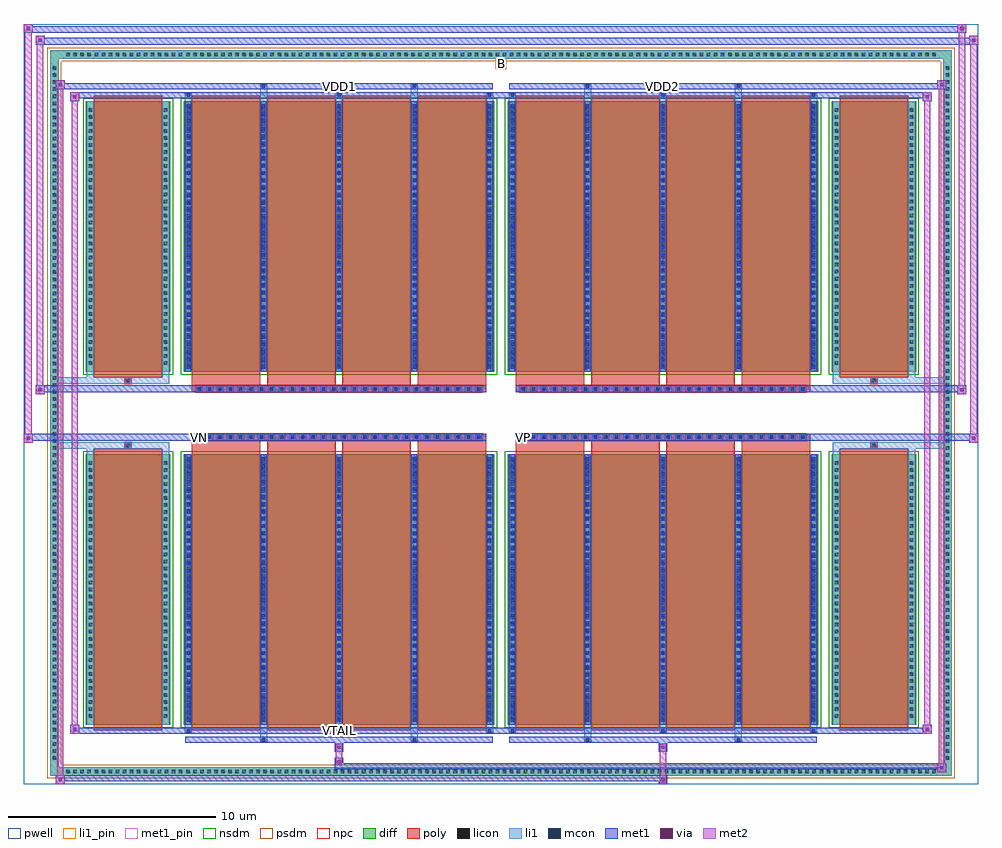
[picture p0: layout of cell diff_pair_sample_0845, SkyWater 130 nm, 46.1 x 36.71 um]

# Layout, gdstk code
import gdstk
lib = gdstk.Library(unit=1e-6, precision=5e-09)
def R(c, l, rs):  # rectangles x0, y0, x1, y1
    for r in rs: c.add(gdstk.rectangle(r[:2], r[2:], *l))
def A(c, l, x, y, w, h, nx, ny, dx, dy):  # array of equal rectangles
    R(c, l, [(x+i*dx, y+j*dy, x+i*dx+w, y+j*dy+h) for i in range(nx) for j in range(ny)])
def P(c, l, *ps):  # polygons
    for p in ps: c.add(gdstk.Polygon(p, *l))
pwell = (64, 44)
diff = (65, 20)
poly = (66, 20)
licon = (66, 44)
li1_pin = (67, 16)
li1 = (67, 20)
mcon = (67, 44)
met1_pin = (68, 16)
met1 = (68, 20)
via = (68, 44)
met2 = (69, 20)
nsdm = (93, 44)
psdm = (94, 20)
npc = (95, 20)

diff_pair_sample_0845 = lib.new_cell('diff_pair_sample_0845')
R(diff_pair_sample_0845, pwell, [(-23.05,-17.92,23.05,18.79), (-20.37,-16.11,-0.01,-0.805), (0.01,-16.11,20.37,-0.805), (-20.37,0.805,-0.01,16.11), (0.01,0.805,20.37,16.11)])
A(diff_pair_sample_0845, diff, -21.115, -17.52, 0.41, 0.41, 124, 2, 0.34, 34.63)
A(diff_pair_sample_0845, diff, -21.78, -16.865, 0.41, 0.41, 1, 99, 0, 0.34)
A(diff_pair_sample_0845, diff, 21.37, -16.865, 0.41, 0.41, 1, 99, 0, 0.34)
R(diff_pair_sample_0845, diff, [(-21.115,-17.52,21.115,-17.11), (-21.78,-16.865,-21.37,16.865), (21.37,-16.865,21.78,16.865), (-20.06,-15.065,-15.97,-1.985), (-15.33,-15.065,-0.32,-1.985), (0.32,-15.065,15.33,-1.985), (15.97,-15.065,20.06,-1.985), (-20.06,1.985,-15.97,15.065), (-15.33,1.985,-0.32,15.065), (0.32,1.985,15.33,15.065), (15.97,1.985,20.06,15.065), (-21.115,17.11,21.115,17.52)])
P(diff_pair_sample_0845, diff, [(21.78,17.52),(-21.78,17.52),(-21.78,-17.11),(-21.37,-17.11),(-21.37,17.11),(21.37,17.11),(21.37,-17.11),(-21.37,-17.11),(-21.78,-17.11),(-21.78,-17.52),(21.78,-17.52)])
A(diff_pair_sample_0845, poly, -14.94, -15.315, 3.31, 13.58, 4, 2, 3.64, 17.05)
A(diff_pair_sample_0845, poly, 0.71, -15.315, 3.31, 13.58, 4, 2, 3.64, 17.05)
A(diff_pair_sample_0845, poly, -14.94, -1.735, 3.31, 0.4, 4, 2, 3.64, 3.07)
A(diff_pair_sample_0845, poly, 0.71, -1.735, 3.31, 0.4, 4, 2, 3.64, 3.07)
A(diff_pair_sample_0845, poly, -14.74, -1.335, 0.33, 0.33, 28, 2, 0.5, 2.34)
A(diff_pair_sample_0845, poly, 0.91, -1.335, 0.33, 0.33, 28, 2, 0.5, 2.34)
R(diff_pair_sample_0845, poly, [(-19.67,-15.315,-16.36,-1.735), (16.36,-15.315,19.67,-1.735), (-18.18,-1.735,-17.85,-1.405), (-18.18,-1.735,-17.85,-1.405), (17.85,-1.735,18.18,-1.405), (17.85,-1.735,18.18,-1.405), (-14.94,-1.335,-0.71,-1.005), (0.71,-1.335,14.94,-1.005), (-14.94,1.005,-0.71,1.335), (0.71,1.005,14.94,1.335), (-18.18,1.405,-17.85,1.735), (-18.18,1.405,-17.85,1.735), (17.85,1.405,18.18,1.735), (17.85,1.405,18.18,1.735), (-19.67,1.735,-16.36,15.315), (16.36,1.735,19.67,15.315)])
A(diff_pair_sample_0845, licon, -20.995, -17.4, 0.17, 0.17, 124, 2, 0.34, 34.63)
A(diff_pair_sample_0845, licon, -21.66, -16.745, 0.17, 0.17, 1, 99, 0, 0.34)
A(diff_pair_sample_0845, licon, 21.49, -16.745, 0.17, 0.17, 1, 99, 0, 0.34)
A(diff_pair_sample_0845, licon, -19.92, -14.73, 0.17, 0.17, 1, 37, 0, 0.34)
A(diff_pair_sample_0845, licon, -16.28, -14.73, 0.17, 0.17, 1, 37, 0, 0.34)
A(diff_pair_sample_0845, licon, -15.19, -14.73, 0.17, 0.17, 5, 37, 3.64, 0.34)
A(diff_pair_sample_0845, licon, 0.46, -14.73, 0.17, 0.17, 5, 37, 3.64, 0.34)
A(diff_pair_sample_0845, licon, 16.11, -14.73, 0.17, 0.17, 1, 37, 0, 0.34)
A(diff_pair_sample_0845, licon, 19.75, -14.73, 0.17, 0.17, 1, 37, 0, 0.34)
A(diff_pair_sample_0845, licon, -14.66, -1.255, 0.17, 0.17, 28, 2, 0.5, 2.34)
A(diff_pair_sample_0845, licon, 0.99, -1.255, 0.17, 0.17, 28, 2, 0.5, 2.34)
A(diff_pair_sample_0845, licon, -19.92, 2.32, 0.17, 0.17, 1, 37, 0, 0.34)
A(diff_pair_sample_0845, licon, -16.28, 2.32, 0.17, 0.17, 1, 37, 0, 0.34)
A(diff_pair_sample_0845, licon, -15.19, 2.32, 0.17, 0.17, 5, 37, 3.64, 0.34)
A(diff_pair_sample_0845, licon, 0.46, 2.32, 0.17, 0.17, 5, 37, 3.64, 0.34)
A(diff_pair_sample_0845, licon, 16.11, 2.32, 0.17, 0.17, 1, 37, 0, 0.34)
A(diff_pair_sample_0845, licon, 19.75, 2.32, 0.17, 0.17, 1, 37, 0, 0.34)
R(diff_pair_sample_0845, licon, [(-18.1,-1.655,-17.93,-1.485), (17.93,-1.655,18.1,-1.485), (-18.1,1.485,-17.93,1.655), (17.93,1.485,18.1,1.655)])
R(diff_pair_sample_0845, li1_pin, [(-0.25,16.61,0.25,17.11)])
A(diff_pair_sample_0845, li1, -21.075, -17.48, 0.33, 0.33, 124, 2, 0.34, 34.63)
A(diff_pair_sample_0845, li1, -21.74, -16.825, 0.33, 0.33, 1, 99, 0, 0.34)
A(diff_pair_sample_0845, li1, 21.41, -16.825, 0.33, 0.33, 1, 99, 0, 0.34)
A(diff_pair_sample_0845, li1, -15.27, -15.44, 0.33, 0.375, 3, 2, 7.28, 30.505)
A(diff_pair_sample_0845, li1, -15.19, -15.44, 0.17, 0.17, 3, 2, 7.28, 30.71)
A(diff_pair_sample_0845, li1, 0.38, -15.44, 0.33, 0.375, 3, 2, 7.28, 30.505)
A(diff_pair_sample_0845, li1, 0.46, -15.44, 0.17, 0.17, 3, 2, 7.28, 30.71)
A(diff_pair_sample_0845, li1, -15.27, -15.065, 0.33, 13.08, 5, 2, 3.64, 17.05)
A(diff_pair_sample_0845, li1, 0.38, -15.065, 0.33, 13.08, 5, 2, 3.64, 17.05)
A(diff_pair_sample_0845, li1, -15.19, -14.91, 0.17, 0.17, 5, 36, 3.64, 0.36)
A(diff_pair_sample_0845, li1, -15.19, -14.91, 0.17, 12.77, 5, 2, 3.64, 17.05)
A(diff_pair_sample_0845, li1, 0.46, -14.91, 0.17, 0.17, 5, 36, 3.64, 0.36)
A(diff_pair_sample_0845, li1, 0.46, -14.91, 0.17, 12.77, 5, 2, 3.64, 17.05)
A(diff_pair_sample_0845, li1, -20, -14.81, 0.33, 0.33, 1, 37, 0, 0.34)
A(diff_pair_sample_0845, li1, -16.36, -14.81, 0.33, 0.33, 1, 37, 0, 0.34)
A(diff_pair_sample_0845, li1, -15.27, -14.81, 0.33, 0.33, 5, 37, 3.64, 0.34)
A(diff_pair_sample_0845, li1, 0.38, -14.81, 0.33, 0.33, 5, 37, 3.64, 0.34)
A(diff_pair_sample_0845, li1, 16.03, -14.81, 0.33, 0.33, 1, 37, 0, 0.34)
A(diff_pair_sample_0845, li1, 19.67, -14.81, 0.33, 0.33, 1, 37, 0, 0.34)
A(diff_pair_sample_0845, li1, -14.74, -1.335, 0.33, 0.33, 28, 2, 0.5, 2.34)
A(diff_pair_sample_0845, li1, 0.91, -1.335, 0.33, 0.33, 28, 2, 0.5, 2.34)
A(diff_pair_sample_0845, li1, -15.19, 2.14, 0.17, 0.17, 5, 36, 3.64, 0.36)
A(diff_pair_sample_0845, li1, 0.46, 2.14, 0.17, 0.17, 5, 36, 3.64, 0.36)
A(diff_pair_sample_0845, li1, -20, 2.24, 0.33, 0.33, 1, 37, 0, 0.34)
A(diff_pair_sample_0845, li1, -16.36, 2.24, 0.33, 0.33, 1, 37, 0, 0.34)
A(diff_pair_sample_0845, li1, -15.27, 2.24, 0.33, 0.33, 5, 37, 3.64, 0.34)
A(diff_pair_sample_0845, li1, 0.38, 2.24, 0.33, 0.33, 5, 37, 3.64, 0.34)
A(diff_pair_sample_0845, li1, 16.03, 2.24, 0.33, 0.33, 1, 37, 0, 0.34)
A(diff_pair_sample_0845, li1, 19.67, 2.24, 0.33, 0.33, 1, 37, 0, 0.34)
R(diff_pair_sample_0845, li1, [(-21.78,-17.52,-21.37,-17.11), (-21.78,-17.52,-21.37,-17.11), (-21.37,-17.52,21.37,-17.11), (21.37,-17.52,21.78,-17.11), (21.37,-17.52,21.78,-17.11), (-21.78,-17.11,-21.37,17.11), (21.37,-17.11,21.78,17.11), (-11.63,-15.87,-11.3,-15.065), (-11.55,-15.87,-11.38,-15.7), (-4.35,-15.87,-4.02,-15.065), (-4.27,-15.87,-4.1,-15.7), (4.02,-15.87,4.35,-15.065), (4.1,-15.87,4.27,-15.7), (11.3,-15.87,11.63,-15.065), (11.38,-15.87,11.55,-15.7), (-20,-15.065,-19.67,-1.985), (-16.36,-15.065,-16.03,-1.985), (16.03,-15.065,16.36,-1.985), (19.67,-15.065,20,-1.985), (-20,-1.985,-19.67,-1.405), (-16.36,-1.985,-16.03,-1.405), (16.03,-1.985,16.36,-1.405), (19.67,-1.985,20,-1.405), (-21.78,-1.735,-18.18,-1.405), (-20,-1.735,-18.18,-1.405), (-18.18,-1.735,-17.85,-1.405), (-17.85,-1.735,-16.03,-1.405), (16.03,-1.735,17.85,-1.405), (17.85,-1.735,18.18,-1.405), (17.85,-1.735,21.78,-1.405), (18.18,-1.735,20,-1.405), (-21.78,1.405,-18.18,1.735), (-20,1.405,-18.18,1.735), (-20,1.405,-19.67,1.985), (-18.18,1.405,-17.85,1.735), (-17.85,1.405,-16.03,1.735), (-16.36,1.405,-16.03,1.985), (16.03,1.405,17.85,1.735), (16.03,1.405,16.36,1.985), (17.85,1.405,18.18,1.735), (17.85,1.405,21.78,1.735), (18.18,1.405,20,1.735), (19.67,1.405,20,1.985), (-20,1.985,-19.67,15.065), (-16.36,1.985,-16.03,15.065), (16.03,1.985,16.36,15.065), (19.67,1.985,20,15.065), (-11.63,15.065,-11.3,15.87), (-4.35,15.065,-4.02,15.87), (4.02,15.065,4.35,15.87), (11.3,15.065,11.63,15.87), (-11.55,15.7,-11.38,15.87), (-4.27,15.7,-4.1,15.87), (4.1,15.7,4.27,15.87), (11.38,15.7,11.55,15.87), (-21.78,17.11,-21.37,17.52), (-21.78,17.11,-21.37,17.52), (-21.37,17.11,21.37,17.52), (21.37,17.11,21.78,17.52), (21.37,17.11,21.78,17.52)])
A(diff_pair_sample_0845, mcon, -15.19, -15.44, 0.17, 0.17, 3, 2, 7.28, 30.71)
A(diff_pair_sample_0845, mcon, 0.46, -15.44, 0.17, 0.17, 3, 2, 7.28, 30.71)
A(diff_pair_sample_0845, mcon, -15.19, -14.91, 0.17, 0.17, 5, 36, 3.64, 0.36)
A(diff_pair_sample_0845, mcon, 0.46, -14.91, 0.17, 0.17, 5, 36, 3.64, 0.36)
A(diff_pair_sample_0845, mcon, -14.66, -1.255, 0.17, 0.17, 28, 2, 0.5, 2.34)
A(diff_pair_sample_0845, mcon, 0.99, -1.255, 0.17, 0.17, 28, 2, 0.5, 2.34)
A(diff_pair_sample_0845, mcon, -15.19, 2.14, 0.17, 0.17, 5, 36, 3.64, 0.36)
A(diff_pair_sample_0845, mcon, 0.46, 2.14, 0.17, 0.17, 5, 36, 3.64, 0.36)
R(diff_pair_sample_0845, mcon, [(-11.55,-15.87,-11.38,-15.7), (-4.27,-15.87,-4.1,-15.7), (4.1,-15.87,4.27,-15.7), (11.38,-15.87,11.55,-15.7), (-11.55,15.7,-11.38,15.87), (-4.27,15.7,-4.1,15.87), (4.1,15.7,4.27,15.87), (11.38,15.7,11.55,15.87)])
R(diff_pair_sample_0845, met1_pin, [(-7.96,-15.48,-7.69,-15.21), (-14.71,-1.295,-14.44,-1.025), (0.94,-1.295,1.21,-1.025), (-7.96,15.66,-7.69,15.93), (7.69,15.66,7.96,15.93)])
A(diff_pair_sample_0845, met1, -15.25, -15.5, 0.29, 0.29, 3, 2, 7.28, 30.71)
A(diff_pair_sample_0845, met1, 0.4, -15.5, 0.29, 0.29, 3, 2, 7.28, 30.71)
A(diff_pair_sample_0845, met1, -15.25, -15.065, 0.29, 13.08, 5, 2, 3.64, 17.05)
A(diff_pair_sample_0845, met1, 0.4, -15.065, 0.29, 13.08, 5, 2, 3.64, 17.05)
A(diff_pair_sample_0845, met1, -15.25, -14.97, 0.29, 0.29, 5, 36, 3.64, 0.36)
A(diff_pair_sample_0845, met1, 0.4, -14.97, 0.29, 0.29, 5, 36, 3.64, 0.36)
A(diff_pair_sample_0845, met1, -14.72, -1.315, 0.29, 0.29, 28, 2, 0.5, 2.34)
A(diff_pair_sample_0845, met1, 0.93, -1.315, 0.29, 0.29, 28, 2, 0.5, 2.34)
A(diff_pair_sample_0845, met1, -15.25, 2.08, 0.29, 0.29, 5, 36, 3.64, 0.36)
A(diff_pair_sample_0845, met1, 0.4, 2.08, 0.29, 0.29, 5, 36, 3.64, 0.36)
R(diff_pair_sample_0845, met1, [(-21.51,-17.92,-21.08,-17.49), (7.61,-17.92,8.04,-17.49), (-21.51,-17.78,8.04,-17.49), (21.08,-17.35,21.51,-16.92), (-8.04,-17.21,21.51,-16.92), (-8.04,-17.07,-7.61,-16.64), (-8.04,-16.36,-7.61,-15.93), (7.61,-16.36,8.04,-15.93), (-15.25,-15.93,-0.4,-15.64), (-11.61,-15.93,-11.32,-15.64), (-4.33,-15.93,-4.04,-15.64), (0.4,-15.93,15.25,-15.64), (4.04,-15.93,4.33,-15.64), (11.32,-15.93,11.61,-15.64), (-20.8,-15.5,-20.37,-15.07), (-20.8,-15.5,-15.25,-15.21), (-15.25,-15.5,-0.4,-15.21), (-0.4,-15.5,0.4,-15.21), (0.4,-15.5,15.25,-15.21), (15.25,-15.5,20.8,-15.21), (20.37,-15.5,20.8,-15.07), (-23.05,-1.435,-22.62,-1.005), (22.62,-1.435,23.05,-1.005), (-23.05,-1.335,-0.71,-1.005), (-14.94,-1.335,-0.71,-1.005), (0.71,-1.335,14.94,-1.005), (0.71,-1.335,23.05,-1.005), (-22.48,0.905,-22.05,1.335), (22.05,0.905,22.48,1.335), (-22.48,1.005,-14.94,1.335), (-14.94,1.005,-0.71,1.335), (0.71,1.005,14.94,1.335), (14.94,1.005,22.48,1.335), (-20.8,15.07,-20.37,15.5), (20.37,15.07,20.8,15.5), (-20.8,15.21,-15.25,15.5), (-15.25,15.21,-0.4,15.5), (-0.4,15.21,0.4,15.5), (0.4,15.21,15.25,15.5), (15.25,15.21,20.8,15.5), (-21.51,15.64,-21.08,16.07), (-21.51,15.64,-15.25,15.93), (-15.25,15.64,-0.4,15.93), (-11.61,15.64,-11.32,15.93), (-4.33,15.64,-4.04,15.93), (0.4,15.64,15.25,15.93), (4.04,15.64,4.33,15.93), (11.32,15.64,11.61,15.93), (15.25,15.64,21.51,15.93), (21.08,15.64,21.51,16.07), (-22.48,17.79,-22.05,18.22), (-22.48,17.79,-20.37,18.12), (-20.37,17.79,20.37,18.12), (20.37,17.79,23.05,18.12), (22.62,17.79,23.05,18.22), (-23.05,18.36,-22.62,18.79), (-23.05,18.36,-20.37,18.69), (-20.37,18.36,20.37,18.69), (20.37,18.36,22.48,18.69), (22.05,18.36,22.48,18.79)])
R(diff_pair_sample_0845, via, [(-21.37,-17.78,-21.22,-17.63), (7.75,-17.78,7.9,-17.63), (21.22,-17.21,21.37,-17.06), (-7.9,-16.93,-7.75,-16.78), (-7.9,-16.22,-7.75,-16.07), (7.75,-16.22,7.9,-16.07), (-20.66,-15.36,-20.51,-15.21), (20.51,-15.36,20.66,-15.21), (-22.91,-1.295,-22.76,-1.145), (22.76,-1.295,22.91,-1.145), (-22.34,1.045,-22.19,1.195), (22.19,1.045,22.34,1.195), (-20.66,15.21,-20.51,15.36), (20.51,15.21,20.66,15.36), (-21.37,15.78,-21.22,15.93), (21.22,15.78,21.37,15.93), (-22.34,17.93,-22.19,18.08), (22.76,17.93,22.91,18.08), (-22.91,18.5,-22.76,18.65), (22.19,18.5,22.34,18.65)])
R(diff_pair_sample_0845, met2, [(-21.51,-17.92,-21.08,-17.49), (-21.44,-17.92,-21.15,16.07), (-21.15,-17.92,-21.08,-17.49), (-21.46,-17.87,-21.13,-17.54), (7.66,-17.87,7.99,-17.54), (7.66,-17.54,7.99,-16.31), (21.08,-17.35,21.51,-16.92), (21.15,-17.35,21.44,16.07), (21.44,-17.35,21.51,-16.92), (21.13,-17.3,21.46,-16.97), (-7.99,-17.02,-7.66,-16.69), (-7.99,-16.69,-7.66,-16.31), (-7.99,-16.31,-7.66,-15.98), (7.66,-16.31,7.99,-15.98), (-20.8,-15.5,-20.37,-15.07), (-20.73,-15.5,-20.44,15.5), (-20.44,-15.5,-20.37,-15.07), (20.37,-15.5,20.8,-15.07), (20.44,-15.5,20.73,15.5), (20.73,-15.5,20.8,-15.07), (-20.75,-15.45,-20.42,-15.12), (20.42,-15.45,20.75,-15.12), (-23.05,-1.435,-22.62,-1.005), (-23,-1.435,-22.67,18.79), (-22.67,-1.435,-22.62,-1.005), (22.62,-1.435,23.05,-1.005), (22.67,-1.435,23,18.22), (23,-1.435,23.05,-1.005), (-23,-1.385,-22.67,-1.055), (22.67,-1.385,23,-1.055), (-22.48,0.905,-22.05,1.335), (-22.43,0.905,-22.1,18.22), (-22.1,0.905,-22.05,1.335), (22.05,0.905,22.48,1.335), (22.1,0.905,22.43,18.79), (22.43,0.905,22.48,1.335), (-22.43,0.955,-22.1,1.285), (22.1,0.955,22.43,1.285), (-20.8,15.07,-20.37,15.5), (-20.44,15.07,-20.37,15.5), (20.37,15.07,20.8,15.5), (20.73,15.07,20.8,15.5), (-20.75,15.12,-20.42,15.45), (20.42,15.12,20.75,15.45), (-21.51,15.64,-21.08,16.07), (-21.15,15.64,-21.08,16.07), (21.08,15.64,21.51,16.07), (21.44,15.64,21.51,16.07), (-21.46,15.69,-21.13,16.02), (21.13,15.69,21.46,16.02), (-22.48,17.79,-22.05,18.22), (-22.1,17.79,-22.05,18.22), (22.62,17.79,23.05,18.22), (23,17.79,23.05,18.22), (-22.43,17.84,-22.1,18.17), (22.67,17.84,23,18.17), (-23.05,18.36,-22.62,18.79), (-22.67,18.36,-22.62,18.79), (22.05,18.36,22.48,18.79), (22.43,18.36,22.48,18.79), (-23,18.41,-22.67,18.74), (22.1,18.41,22.43,18.74)])
R(diff_pair_sample_0845, nsdm, [(-20.19,-15.195,-15.84,-1.855), (-15.46,-15.195,-0.19,-1.855), (0.19,-15.195,15.46,-1.855), (15.84,-15.195,20.19,-1.855), (-20.19,1.855,-15.84,15.195), (-15.46,1.855,-0.19,15.195), (0.19,1.855,15.46,15.195), (15.84,1.855,20.19,15.195)])
P(diff_pair_sample_0845, psdm, [(21.91,17.65),(-21.91,17.65),(-21.91,-16.98),(-21.24,-16.98),(-21.24,16.98),(21.24,16.98),(21.24,-16.98),(-21.24,-16.98),(-21.91,-16.98),(-21.91,-17.65),(21.91,-17.65)])
A(diff_pair_sample_0845, npc, -14.76, -1.355, 0.37, 0.37, 28, 2, 0.5, 2.34)
A(diff_pair_sample_0845, npc, 0.89, -1.355, 0.37, 0.37, 28, 2, 0.5, 2.34)
R(diff_pair_sample_0845, npc, [(-18.2,-1.755,-17.83,-1.385), (17.83,-1.755,18.2,-1.385), (-14.76,-1.355,-13.89,-0.985), (-14.76,-1.355,-13.89,-0.985), (-14.26,-1.355,-13.39,-0.985), (-14.26,-1.355,-13.39,-0.985), (-13.76,-1.355,-12.89,-0.985), (-13.76,-1.355,-12.89,-0.985), (-13.26,-1.355,-12.39,-0.985), (-13.26,-1.355,-12.39,-0.985), (-12.76,-1.355,-11.89,-0.985), (-12.76,-1.355,-11.89,-0.985), (-12.26,-1.355,-11.39,-0.985), (-12.26,-1.355,-11.39,-0.985), (-11.76,-1.355,-10.89,-0.985), (-11.76,-1.355,-10.89,-0.985), (-11.26,-1.355,-10.39,-0.985), (-11.26,-1.355,-10.39,-0.985), (-10.76,-1.355,-9.89,-0.985), (-10.76,-1.355,-9.89,-0.985), (-10.26,-1.355,-9.39,-0.985), (-10.26,-1.355,-9.39,-0.985), (-9.76,-1.355,-8.89,-0.985), (-9.76,-1.355,-8.89,-0.985), (-9.26,-1.355,-8.39,-0.985), (-9.26,-1.355,-8.39,-0.985), (-8.76,-1.355,-7.89,-0.985), (-8.76,-1.355,-7.89,-0.985), (-8.26,-1.355,-7.39,-0.985), (-8.26,-1.355,-7.39,-0.985), (-7.76,-1.355,-6.89,-0.985), (-7.76,-1.355,-6.89,-0.985), (-7.26,-1.355,-6.39,-0.985), (-7.26,-1.355,-6.39,-0.985), (-6.76,-1.355,-5.89,-0.985), (-6.76,-1.355,-5.89,-0.985), (-6.26,-1.355,-5.39,-0.985), (-6.26,-1.355,-5.39,-0.985), (-5.76,-1.355,-4.89,-0.985), (-5.76,-1.355,-4.89,-0.985), (-5.26,-1.355,-4.39,-0.985), (-5.26,-1.355,-4.39,-0.985), (-4.76,-1.355,-3.89,-0.985), (-4.76,-1.355,-3.89,-0.985), (-4.26,-1.355,-3.39,-0.985), (-4.26,-1.355,-3.39,-0.985), (-3.76,-1.355,-2.89,-0.985), (-3.76,-1.355,-2.89,-0.985), (-3.26,-1.355,-2.39,-0.985), (-3.26,-1.355,-2.39,-0.985), (-2.76,-1.355,-1.89,-0.985), (-2.76,-1.355,-1.89,-0.985), (-2.26,-1.355,-1.39,-0.985), (-2.26,-1.355,-1.39,-0.985), (-1.76,-1.355,-0.89,-0.985), (-1.76,-1.355,-0.89,-0.985), (0.89,-1.355,1.76,-0.985), (0.89,-1.355,1.76,-0.985), (1.39,-1.355,2.26,-0.985), (1.39,-1.355,2.26,-0.985), (1.89,-1.355,2.76,-0.985), (1.89,-1.355,2.76,-0.985), (2.39,-1.355,3.26,-0.985), (2.39,-1.355,3.26,-0.985), (2.89,-1.355,3.76,-0.985), (2.89,-1.355,3.76,-0.985), (3.39,-1.355,4.26,-0.985), (3.39,-1.355,4.26,-0.985), (3.89,-1.355,4.76,-0.985), (3.89,-1.355,4.76,-0.985), (4.39,-1.355,5.26,-0.985), (4.39,-1.355,5.26,-0.985), (4.89,-1.355,5.76,-0.985), (4.89,-1.355,5.76,-0.985), (5.39,-1.355,6.26,-0.985), (5.39,-1.355,6.26,-0.985), (5.89,-1.355,6.76,-0.985), (5.89,-1.355,6.76,-0.985), (6.39,-1.355,7.26,-0.985), (6.39,-1.355,7.26,-0.985), (6.89,-1.355,7.76,-0.985), (6.89,-1.355,7.76,-0.985), (7.39,-1.355,8.26,-0.985), (7.39,-1.355,8.26,-0.985), (7.89,-1.355,8.76,-0.985), (7.89,-1.355,8.76,-0.985), (8.39,-1.355,9.26,-0.985), (8.39,-1.355,9.26,-0.985), (8.89,-1.355,9.76,-0.985), (8.89,-1.355,9.76,-0.985), (9.39,-1.355,10.26,-0.985), (9.39,-1.355,10.26,-0.985), (9.89,-1.355,10.76,-0.985), (9.89,-1.355,10.76,-0.985), (10.39,-1.355,11.26,-0.985), (10.39,-1.355,11.26,-0.985), (10.89,-1.355,11.76,-0.985), (10.89,-1.355,11.76,-0.985), (11.39,-1.355,12.26,-0.985), (11.39,-1.355,12.26,-0.985), (11.89,-1.355,12.76,-0.985), (11.89,-1.355,12.76,-0.985), (12.39,-1.355,13.26,-0.985), (12.39,-1.355,13.26,-0.985), (12.89,-1.355,13.76,-0.985), (12.89,-1.355,13.76,-0.985), (13.39,-1.355,14.26,-0.985), (13.39,-1.355,14.26,-0.985), (13.89,-1.355,14.76,-0.985), (13.89,-1.355,14.76,-0.985), (-14.76,0.985,-13.89,1.355), (-14.76,0.985,-13.89,1.355), (-14.26,0.985,-13.39,1.355), (-14.26,0.985,-13.39,1.355), (-13.76,0.985,-12.89,1.355), (-13.76,0.985,-12.89,1.355), (-13.26,0.985,-12.39,1.355), (-13.26,0.985,-12.39,1.355), (-12.76,0.985,-11.89,1.355), (-12.76,0.985,-11.89,1.355), (-12.26,0.985,-11.39,1.355), (-12.26,0.985,-11.39,1.355), (-11.76,0.985,-10.89,1.355), (-11.76,0.985,-10.89,1.355), (-11.26,0.985,-10.39,1.355), (-11.26,0.985,-10.39,1.355), (-10.76,0.985,-9.89,1.355), (-10.76,0.985,-9.89,1.355), (-10.26,0.985,-9.39,1.355), (-10.26,0.985,-9.39,1.355), (-9.76,0.985,-8.89,1.355), (-9.76,0.985,-8.89,1.355), (-9.26,0.985,-8.39,1.355), (-9.26,0.985,-8.39,1.355), (-8.76,0.985,-7.89,1.355), (-8.76,0.985,-7.89,1.355), (-8.26,0.985,-7.39,1.355), (-8.26,0.985,-7.39,1.355), (-7.76,0.985,-6.89,1.355), (-7.76,0.985,-6.89,1.355), (-7.26,0.985,-6.39,1.355), (-7.26,0.985,-6.39,1.355), (-6.76,0.985,-5.89,1.355), (-6.76,0.985,-5.89,1.355), (-6.26,0.985,-5.39,1.355), (-6.26,0.985,-5.39,1.355), (-5.76,0.985,-4.89,1.355), (-5.76,0.985,-4.89,1.355), (-5.26,0.985,-4.39,1.355), (-5.26,0.985,-4.39,1.355), (-4.76,0.985,-3.89,1.355), (-4.76,0.985,-3.89,1.355), (-4.26,0.985,-3.39,1.355), (-4.26,0.985,-3.39,1.355), (-3.76,0.985,-2.89,1.355), (-3.76,0.985,-2.89,1.355), (-3.26,0.985,-2.39,1.355), (-3.26,0.985,-2.39,1.355), (-2.76,0.985,-1.89,1.355), (-2.76,0.985,-1.89,1.355), (-2.26,0.985,-1.39,1.355), (-2.26,0.985,-1.39,1.355), (-1.76,0.985,-0.89,1.355), (-1.76,0.985,-0.89,1.355), (0.89,0.985,1.76,1.355), (0.89,0.985,1.76,1.355), (1.39,0.985,2.26,1.355), (1.39,0.985,2.26,1.355), (1.89,0.985,2.76,1.355), (1.89,0.985,2.76,1.355), (2.39,0.985,3.26,1.355), (2.39,0.985,3.26,1.355), (2.89,0.985,3.76,1.355), (2.89,0.985,3.76,1.355), (3.39,0.985,4.26,1.355), (3.39,0.985,4.26,1.355), (3.89,0.985,4.76,1.355), (3.89,0.985,4.76,1.355), (4.39,0.985,5.26,1.355), (4.39,0.985,5.26,1.355), (4.89,0.985,5.76,1.355), (4.89,0.985,5.76,1.355), (5.39,0.985,6.26,1.355), (5.39,0.985,6.26,1.355), (5.89,0.985,6.76,1.355), (5.89,0.985,6.76,1.355), (6.39,0.985,7.26,1.355), (6.39,0.985,7.26,1.355), (6.89,0.985,7.76,1.355), (6.89,0.985,7.76,1.355), (7.39,0.985,8.26,1.355), (7.39,0.985,8.26,1.355), (7.89,0.985,8.76,1.355), (7.89,0.985,8.76,1.355), (8.39,0.985,9.26,1.355), (8.39,0.985,9.26,1.355), (8.89,0.985,9.76,1.355), (8.89,0.985,9.76,1.355), (9.39,0.985,10.26,1.355), (9.39,0.985,10.26,1.355), (9.89,0.985,10.76,1.355), (9.89,0.985,10.76,1.355), (10.39,0.985,11.26,1.355), (10.39,0.985,11.26,1.355), (10.89,0.985,11.76,1.355), (10.89,0.985,11.76,1.355), (11.39,0.985,12.26,1.355), (11.39,0.985,12.26,1.355), (11.89,0.985,12.76,1.355), (11.89,0.985,12.76,1.355), (12.39,0.985,13.26,1.355), (12.39,0.985,13.26,1.355), (12.89,0.985,13.76,1.355), (12.89,0.985,13.76,1.355), (13.39,0.985,14.26,1.355), (13.39,0.985,14.26,1.355), (13.89,0.985,14.76,1.355), (13.89,0.985,14.76,1.355), (-18.2,1.385,-17.83,1.755), (17.83,1.385,18.2,1.755)])
diff_pair_sample_0845.add(gdstk.Label('VTAIL', (-7.825,-15.345), layer=68, texttype=5))
diff_pair_sample_0845.add(gdstk.Label('VN', (-14.575,-1.16), layer=68, texttype=5))
diff_pair_sample_0845.add(gdstk.Label('VP', (1.075,-1.16), layer=68, texttype=5))
diff_pair_sample_0845.add(gdstk.Label('B', (0,16.86), layer=67, texttype=5))
diff_pair_sample_0845.add(gdstk.Label('VDD2', (7.825,15.795), layer=68, texttype=5))
diff_pair_sample_0845.add(gdstk.Label('VDD1', (-7.825,15.795), layer=68, texttype=5))

lib.write_gds('diff_pair_sample_0845.gds')
